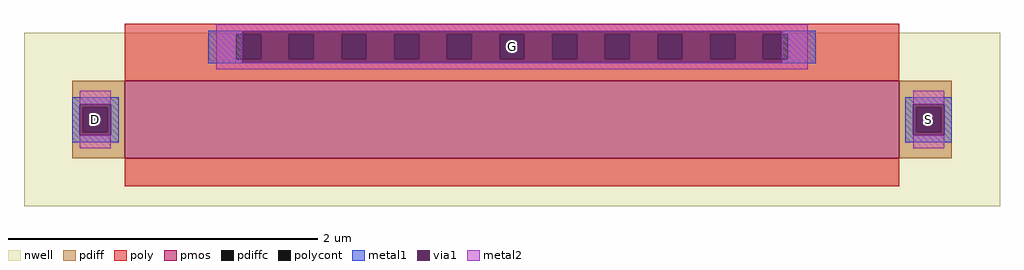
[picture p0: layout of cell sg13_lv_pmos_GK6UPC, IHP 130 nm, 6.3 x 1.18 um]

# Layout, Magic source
magic
tech ihp-sg13g2
magscale 1 2
<< nwell >>
rect -630 -131 630 93
<< pmos >>
rect -500 -69 500 31
<< pdiff >>
rect -568 -3 -500 31
rect -568 -35 -554 -3
rect -522 -35 -500 -3
rect -568 -69 -500 -35
rect 500 -3 568 31
rect 500 -35 522 -3
rect 554 -35 568 -3
rect 500 -69 568 -35
<< pdiffc >>
rect -554 -35 -522 -3
rect 522 -35 554 -3
<< poly >>
rect -500 91 500 105
rect -500 59 -356 91
rect -324 59 -288 91
rect -256 59 -220 91
rect -188 59 -152 91
rect -120 59 -84 91
rect -52 59 -16 91
rect 16 59 52 91
rect 84 59 120 91
rect 152 59 188 91
rect 220 59 256 91
rect 288 59 324 91
rect 356 59 500 91
rect -500 31 500 59
rect -500 -105 500 -69
<< polycont >>
rect -356 59 -324 91
rect -288 59 -256 91
rect -220 59 -188 91
rect -152 59 -120 91
rect -84 59 -52 91
rect -16 59 16 91
rect 52 59 84 91
rect 120 59 152 91
rect 188 59 220 91
rect 256 59 288 91
rect 324 59 356 91
<< metal1 >>
rect -392 95 392 96
rect -392 91 -348 95
rect 348 91 392 95
rect -392 59 -356 91
rect 356 59 392 91
rect -392 55 -348 59
rect 348 55 392 59
rect -392 54 392 55
rect -568 1 -508 10
rect -568 -39 -558 1
rect -518 -39 -508 1
rect -568 -48 -508 -39
rect 508 1 568 10
rect 508 -39 518 1
rect 558 -39 568 1
rect 508 -48 568 -39
<< via1 >>
rect -348 91 348 95
rect -348 59 -324 91
rect -324 59 -288 91
rect -288 59 -256 91
rect -256 59 -220 91
rect -220 59 -188 91
rect -188 59 -152 91
rect -152 59 -120 91
rect -120 59 -84 91
rect -84 59 -52 91
rect -52 59 -16 91
rect -16 59 16 91
rect 16 59 52 91
rect 52 59 84 91
rect 84 59 120 91
rect 120 59 152 91
rect 152 59 188 91
rect 188 59 220 91
rect 220 59 256 91
rect 256 59 288 91
rect 288 59 324 91
rect 324 59 348 91
rect -348 55 348 59
rect -558 -3 -518 1
rect -558 -35 -554 -3
rect -554 -35 -522 -3
rect -522 -35 -518 -3
rect -558 -39 -518 -35
rect 518 -3 558 1
rect 518 -35 522 -3
rect 522 -35 554 -3
rect 554 -35 558 -3
rect 518 -39 558 -35
<< metal2 >>
rect -382 95 382 104
rect -382 55 -348 95
rect 348 55 382 95
rect -382 46 382 55
rect -558 1 -518 18
rect -558 -56 -518 -39
rect 518 1 558 18
rect 518 -56 558 -39
<< labels >>
rlabel metal1 s -538 -19 -538 -19 4 D
rlabel metal1 s 538 -19 538 -19 4 S
rlabel metal1 s 0 75 0 75 4 G
<< end >>
